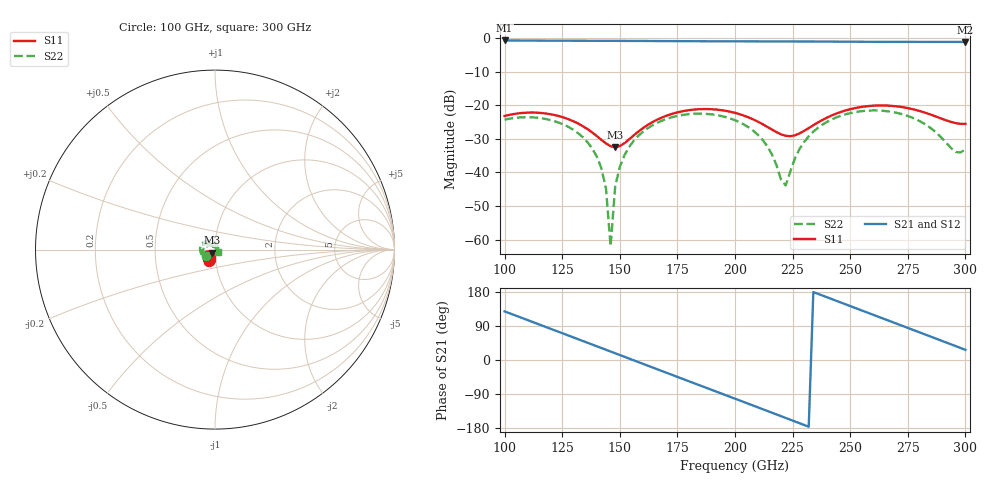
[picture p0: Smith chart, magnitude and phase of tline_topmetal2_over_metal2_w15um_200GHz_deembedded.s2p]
! Created with skrf 2.0.1 (http://scikit-rf.org).
# GHz S DB R 50.0
!freq dBS11 angS11 dBS21 angS21 dBS12 angS12 dBS22 angS22
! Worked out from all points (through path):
!   101 points, 100 GHz to 300 GHz, reference 50 ohm
!   highest |S21| = -0.72 dB at 100 GHz (marker M1); lowest = -1.2 dB at 300 GHz (marker M2)
!   group delay of S21, straight-line fit = 6.41 ps
!   lowest |S11| = -32.5 dB at 148 GHz (marker M3), VSWR 1.05, Z = 48.4 - j1.72 ohm
!   |S11| at or under -10 dB: start of sweep to end of sweep
!   |S22| runs from -62.0 to -21.6 dB; largest |S21 - S12| = 1.1e-14
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100  -23.20 -115.8  -0.72 128.3  -0.72 128.3  -24.30 -146.6
116  -22.32 -143.3  -0.77 91.5  -0.77 91.5  -23.89 175.0
134  -26.25 -165.8  -0.81 50.1  -0.81 50.1  -29.56 131.6
138  -28.10 -165.6  -0.82 40.9  -0.82 40.9  -32.84 122.3
142  -30.30 -159.4  -0.82 31.6  -0.82 31.6  -38.75 114.3
144  -31.37 -152.7  -0.83 27.0  -0.83 27.0  -44.82 113.3
146  -32.19 -143.1  -0.83 22.4  -0.83 22.4  -61.97 -153.8
148  -32.50 -131.4  -0.84 17.8  -0.84 17.8  -44.15 -91.4
150  -32.16 -119.7  -0.84 13.1  -0.84 13.1  -38.33 -92.9
154  -30.18 -103.2  -0.85 3.9  -0.85 3.9  -32.48 -101.1
168  -23.74 -100.7  -0.90 -28.4  -0.90 -28.4  -24.68 -134.8
184  -21.20 -122.2  -0.95 -65.3  -0.95 -65.3  -22.50 -174.7
200  -22.28 -143.7  -0.98 -102.1  -0.98 -102.1  -24.47 143.8
212  -25.65 -149.8  -0.99 -129.8  -0.99 -129.8  -30.34 107.9
222  -29.11 -128.4  -1.01 -152.9  -1.01 -152.9  -43.90 -12.0
228  -28.40 -105.2  -1.02 -166.8  -1.02 -166.8  -33.06 -85.1
234  -25.95 -93.7  -1.04 179.3  -1.04 179.3  -27.87 -107.7
250  -21.18 -100.5  -1.09 142.3  -1.09 142.3  -22.35 -153.4
268  -20.19 -121.9  -1.13 100.9  -1.13 100.9  -21.98 156.9
284  -22.57 -133.7  -1.15 63.9  -1.15 63.9  -26.34 104.8
296  -25.36 -121.4  -1.16 36.1  -1.16 36.1  -33.96 19.3
300  -25.56 -111.7  -1.16 26.8  -1.16 26.8  -33.11 -30.8
